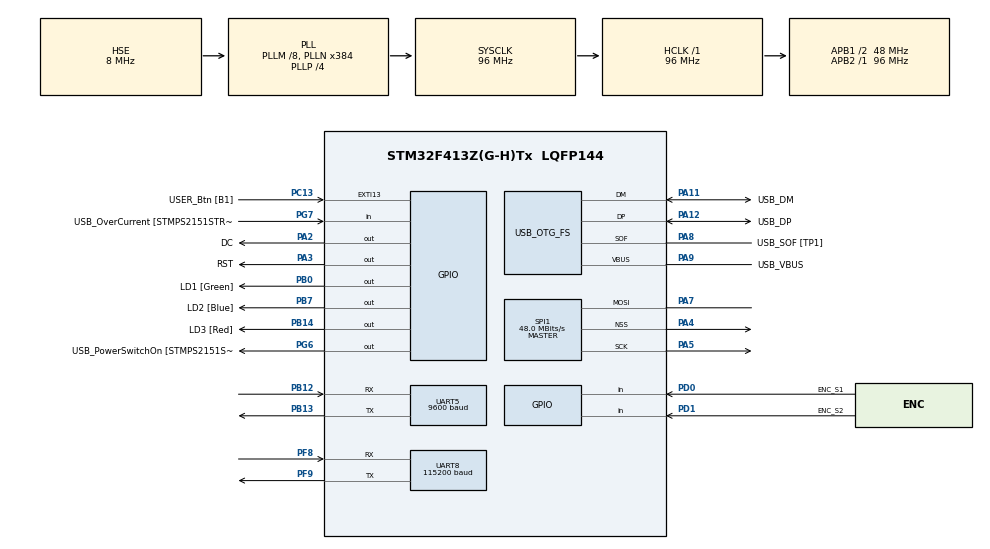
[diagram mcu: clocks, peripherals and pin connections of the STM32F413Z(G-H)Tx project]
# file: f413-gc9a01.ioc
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Dma.Request0=SPI1_TX
Dma.Request1=UART5_RX
Dma.Request2=UART5_TX
Dma.Request3=UART8_RX
Dma.SPI1_TX.0.Direction=DMA_MEMORY_TO_PERIPH
Dma.SPI1_TX.0.FIFOMode=DMA_FIFOMODE_DISABLE
Dma.SPI1_TX.0.Instance=DMA2_Stream2
Dma.SPI1_TX.0.MemDataAlignment=DMA_MDATAALIGN_BYTE
Dma.SPI1_TX.0.MemInc=DMA_MINC_ENABLE
Dma.SPI1_TX.0.Mode=DMA_NORMAL
Dma.SPI1_TX.0.PeriphDataAlignment=DMA_PDATAALIGN_BYTE
Dma.SPI1_TX.0.PeriphInc=DMA_PINC_DISABLE
Dma.SPI1_TX.0.Priority=DMA_PRIORITY_LOW
Dma.UART5_RX.1.Direction=DMA_PERIPH_TO_MEMORY
Dma.UART5_RX.1.FIFOMode=DMA_FIFOMODE_DISABLE
Dma.UART5_RX.1.Instance=DMA1_Stream0
Dma.UART5_RX.1.MemDataAlignment=DMA_MDATAALIGN_BYTE
Dma.UART5_RX.1.MemInc=DMA_MINC_ENABLE
Dma.UART5_RX.1.Mode=DMA_NORMAL
Dma.UART5_RX.1.PeriphDataAlignment=DMA_PDATAALIGN_BYTE
Dma.UART5_RX.1.PeriphInc=DMA_PINC_DISABLE
Dma.UART5_RX.1.Priority=DMA_PRIORITY_LOW
Dma.UART5_TX.2.Direction=DMA_MEMORY_TO_PERIPH
Dma.UART5_TX.2.FIFOMode=DMA_FIFOMODE_DISABLE
Dma.UART5_TX.2.Instance=DMA1_Stream7
Dma.UART5_TX.2.MemDataAlignment=DMA_MDATAALIGN_BYTE
Dma.UART5_TX.2.MemInc=DMA_MINC_ENABLE
Dma.UART5_TX.2.Mode=DMA_NORMAL
Dma.UART5_TX.2.PeriphDataAlignment=DMA_PDATAALIGN_BYTE
Dma.UART5_TX.2.PeriphInc=DMA_PINC_DISABLE
Dma.UART5_TX.2.Priority=DMA_PRIORITY_LOW
Dma.UART8_RX.3.Direction=DMA_PERIPH_TO_MEMORY
Dma.UART8_RX.3.FIFOMode=DMA_FIFOMODE_DISABLE
Dma.UART8_RX.3.Instance=DMA1_Stream6
Dma.UART8_RX.3.MemDataAlignment=DMA_MDATAALIGN_BYTE
Dma.UART8_RX.3.MemInc=DMA_MINC_ENABLE
Dma.UART8_RX.3.Mode=DMA_NORMAL
Dma.UART8_RX.3.PeriphDataAlignment=DMA_PDATAALIGN_BYTE
Dma.UART8_RX.3.PeriphInc=DMA_PINC_DISABLE
Dma.UART8_RX.3.Priority=DMA_PRIORITY_LOW
Mcu.Family=STM32F4
Mcu.Name=STM32F413Z(G-H)Tx
Mcu.Package=LQFP144
NVIC.DMA1_Stream0_IRQn=true\:0\:0\:false\:false\:true\:false\:true\:true
NVIC.DMA1_Stream6_IRQn=true\:0\:0\:false\:false\:true\:false\:true\:true
NVIC.DMA1_Stream7_IRQn=true\:0\:0\:false\:false\:true\:false\:true\:true
NVIC.DMA2_Stream2_IRQn=true\:0\:0\:false\:false\:true\:false\:true\:true
NVIC.PriorityGroup=NVIC_PRIORITYGROUP_4
NVIC.UART5_IRQn=true\:0\:0\:false\:false\:true\:true\:true\:true
NVIC.UART8_IRQn=true\:0\:0\:false\:false\:true\:true\:true\:true
PA10.GPIO_Label=USB_ID
PA10.Signal=USB_OTG_FS_ID
PA11.GPIO_Label=USB_DM
PA11.Mode=Device_Only
PA11.Signal=USB_OTG_FS_DM
PA12.GPIO_Label=USB_DP
PA12.Mode=Device_Only
PA12.Signal=USB_OTG_FS_DP
PA13.GPIO_Label=TMS
PA13.Mode=Serial_Wire
PA13.Signal=SYS_JTMS-SWDIO
PA14.GPIO_Label=TCK
PA14.Mode=Serial_Wire
PA14.Signal=SYS_JTCK-SWCLK
PA2.GPIO_Label=DC
PA2.GPIO_Speed=GPIO_SPEED_FREQ_VERY_HIGH
PA2.Signal=GPIO_Output
PA3.GPIO_Label=RST
PA3.GPIO_Speed=GPIO_SPEED_FREQ_VERY_HIGH
PA3.Signal=GPIO_Output
PA4.Mode=NSS_Signal_Hard_Output
PA4.Signal=SPI1_NSS
PA5.Mode=Simplex_Bidirectional_Master
PA5.Signal=SPI1_SCK
PA7.Mode=Simplex_Bidirectional_Master
PA7.Signal=SPI1_MOSI
PA8.GPIO_Label=USB_SOF [TP1]
PA8.Mode=Activate_SOF_FS
PA8.Signal=USB_OTG_FS_SOF
PA9.GPIO_Label=USB_VBUS
PA9.Mode=Activate_VBUS
PA9.Signal=USB_OTG_FS_VBUS
PB0.GPIO_Label=LD1 [Green]
PB0.Signal=GPIO_Output
PB12.Mode=Asynchronous
PB12.Signal=UART5_RX
PB13.Mode=Asynchronous
PB13.Signal=UART5_TX
PB14.GPIO_Label=LD3 [Red]
PB14.Signal=GPIO_Output
PB3.GPIO_Label=SWO
PB3.Signal=SYS_JTDO-SWO
PB7.GPIO_Label=LD2 [Blue]
PB7.Signal=GPIO_Output
PC13.GPIO_Label=USER_Btn [B1]
PC13.Signal=GPXTI13
PC14-OSC32_IN.Mode=LSE-External-Oscillator
PC14-OSC32_IN.Signal=RCC_OSC32_IN
PC15-OSC32_OUT.Mode=LSE-External-Oscillator
PC15-OSC32_OUT.Signal=RCC_OSC32_OUT
PD0.GPIO_Label=ENC_S1
PD0.Signal=GPIO_Input
PD1.GPIO_Label=ENC_S2
PD1.Signal=GPIO_Input
PD8.GPIO_Label=STLK_RX [STM32F103CBT6_PA3]
PD8.Signal=USART3_TX
PD9.GPIO_Label=STLK_TX [STM32F103CBT6_PA2]
PD9.Signal=USART3_RX
PF8.Mode=Asynchronous
PF8.Signal=UART8_RX
PF9.Mode=Asynchronous
PF9.Signal=UART8_TX
PG6.GPIO_Label=USB_PowerSwitchOn [STMPS2151STR_EN]
PG6.Signal=GPIO_Output
PG7.GPIO_Label=USB_OverCurrent [STMPS2151STR_FAULT]
PG7.Signal=GPIO_Input
PH0\ -\ OSC_IN.GPIO_Label=MCO
PH0\ -\ OSC_IN.Mode=HSE-External-Clock-Source
PH0\ -\ OSC_IN.Signal=RCC_OSC_IN
PH1\ -\ OSC_OUT.Mode=HSE-External-Clock-Source
PH1\ -\ OSC_OUT.Signal=RCC_OSC_OUT
ProjectManager.HeapSize=0x200
ProjectManager.StackSize=0x400
ProjectManager.TargetToolchain=Makefile
RCC.48MHZClocksFreq_Value=24000000
RCC.AHBFreq_Value=96000000
RCC.APB1CLKDivider=RCC_HCLK_DIV2
RCC.APB1Freq_Value=48000000
RCC.APB1TimFreq_Value=96000000
RCC.APB2Freq_Value=96000000
RCC.APB2TimFreq_Value=96000000
RCC.CortexFreq_Value=96000000
RCC.HCLKFreq_Value=96000000
RCC.HSE_VALUE=8000000
RCC.HSI_VALUE=16000000
RCC.PLLM=8
RCC.PLLMUL=RCC_PLL_MUL9
RCC.PLLN=384
RCC.PLLP=RCC_PLLP_DIV4
RCC.PLLQ=8
RCC.PRESCALERUSB=RCC_USBCLKSOURCE_PLL_DIV1_5
RCC.SYSCLKFreq_VALUE=96000000
RCC.SYSCLKSource=RCC_SYSCLKSOURCE_PLLCLK
RCC.SYSCLKSourceVirtual=RCC_SYSCLKSOURCE_PLLCLK
RCC.USBFreq_Value=48000000
RCC.VCOOutputFreq_Value=384000000
SPI1.CalculateBaudRate=48.0 MBits/s
SPI1.Direction=SPI_DIRECTION_1LINE
SPI1.Mode=SPI_MODE_MASTER
SPI1.VirtualNSS=VM_NSSHARD
SPI1.VirtualType=VM_MASTER
UART5.BaudRate=9600
UART5.VirtualMode=Asynchronous
UART8.BaudRate=115200
UART8.VirtualMode=Asynchronous
USB_OTG_FS.VirtualMode=Device_Only
board=NUCLEO-F413ZH

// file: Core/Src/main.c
/* USER CODE BEGIN Header */
/**
  ******************************************************************************
  * @file           : main.c
  * @brief          : Main program body
  ******************************************************************************
  * @attention
  *
  * Copyright (c) 2024 STMicroelectronics.
  * All rights reserved.
  *
  * This software is licensed under terms that can be found in the LICENSE file
  * in the root directory of this software component.
  * If no LICENSE file comes with this software, it is provided AS-IS.
  *
  ******************************************************************************
  */
/* USER CODE END Header */
#include "main.h"

/* USER CODE BEGIN Includes */
#include <stdlib.h>
#include <dispcolor.h>
#include <gpio.h>
#include "info_disp.h"
#include "buttons.h"
#include "enc.h"
/* USER CODE END Includes */

/* USER CODE BEGIN PD */
#define STATE_INIT    0
#define STATE_DISPLAY 1
#define STATE_800INIT 2
/* USER CODE END PD */

/* USER CODE BEGIN PM */
#define SCROLL_MODE_AUTO  0
#define SCROLL_MODE_HALT  1
#define SCROLL_MODE_CLICK 2
/* USER CODE END PM */

SPI_HandleTypeDef hspi1;
// DMA_HandleTypeDef hdma_spi1_tx;

UART_HandleTypeDef huart5;
UART_HandleTypeDef huart8;
DMA_HandleTypeDef hdma_uart5_rx;
DMA_HandleTypeDef hdma_uart5_tx;
DMA_HandleTypeDef hdma_uart8_rx;

PCD_HandleTypeDef hpcd_USB_OTG_FS;

/* USER CODE BEGIN PV */
#define DEV0_UART &huart5

#define DEV_STATE_IN    1
#define DEV_STATE_UNIN  0

#define SIM800_UART &huart8
/* USER CODE END PV */

void SystemClock_Config(void);
static void MX_GPIO_Init(void);
static void MX_DMA_Init(void);
static void MX_SPI1_Init(void);
static void MX_USB_OTG_FS_PCD_Init(void);
static void MX_UART5_Init(void);
static void MX_UART8_Init(void);

/* USER CODE BEGIN 0 */
double val = 10;
uint8_t tx_buff[]={84,66,67,68,69,70,71,72,73,74};
uint8_t palette = TEMP_PALETTE;
uint8_t device_type = TYPE_SET_TEL;

uint8_t state = STATE_INIT;
uint8_t dev_num = 0;

bool trySIMInit = 0;

uint8_t screen_scroll_mode = SCROLL_MODE_AUTO;

Button button = {GPIOC, GPIO_PIN_13, TYPE_HIGH_PULL};

Encoder enc = {GPIOD, GPIO_PIN_0, GPIOD, GPIO_PIN_1};

// Device device_0 = {&huart5, DEV_STATE_UNIN, TYPE_SET_ONLY};
// Device device_2 = {&huart5, DEV_STATE_UNIN, TYPE_SET_ONLY};
// Device device_3 = {&huart5, DEV_STATE_UNIN, TYPE_SET_ONLY};
// Device device_4 = {&huart5, DEV_STATE_UNIN, TYPE_SET_ONLY};

Device deviceList[] = {{&huart5, DEV_STATE_UNIN, TYPE_SET_ONLY}};

SIM sim = {SIM800_UART};

#define DEV_COUNT sizeof(deviceList)/sizeof(deviceList[0])
/* USER CODE END 0 */

int main(void)
{

  /* MCU Configuration--------------------------------------------------------*/

  /* Reset of all peripherals, Initializes the Flash interface and the Systick. */
  HAL_Init();

  /* USER CODE BEGIN Init */

	gpio_SetGPIOmode_Out(GPIOB, GPIO_PIN_14);
  gpio_SetGPIOmode_Out(GPIOB, GPIO_PIN_7);
  gpio_SetGPIOmode_Out(GPIOB, GPIO_PIN_0);
  HAL_GPIO_WritePin(GPIOB, GPIO_PIN_0, GPIO_PIN_SET);
	HAL_Delay(100);

	HAL_GPIO_TogglePin(GPIOB, GPIO_PIN_14);
	HAL_Delay(100);
	HAL_GPIO_TogglePin(GPIOB, GPIO_PIN_14);
  /* USER CODE END Init */

  /* Configure the system clock */
  SystemClock_Config();

  /* Initialize all configured peripherals */
  MX_GPIO_Init();
  MX_DMA_Init();
  MX_SPI1_Init();
  MX_USB_OTG_FS_PCD_Init();
  MX_UART5_Init();
  MX_UART8_Init();
  /* USER CODE BEGIN 2 */
  init(&button);
  initEnc(&enc);

  HAL_GPIO_WritePin(GPIOB, GPIO_PIN_0, GPIO_PIN_RESET);
  HAL_Delay(100);
	HAL_GPIO_WritePin(GPIOB, GPIO_PIN_0, GPIO_PIN_SET);

	dispcolor_Init(240, 240);

	uint32_t dev_init_timeout = HAL_GetTick();
  uint32_t screen_disp_time = HAL_GetTick();
  uint32_t hold_timeout = HAL_GetTick();

  uint32_t simtmr = HAL_GetTick();

	bool isOn = 0;

  uint8_t old_dev_num = 0;

  uint8_t rx_buff[5];

  bool testMode = MODE_NORMAL;
  uint16_t testVal = 28.5;

  deviceList[0].tx_buff[0] = 84;

  //Show_Message("HELLO, WORLD!", 5000);
  /* USER CODE END 2 */

  /* Infinite loop */
  /* USER CODE BEGIN WHILE */
  while (1)
  {
    // NEW CODE START
    if(state == STATE_INIT){
      Display_Init(dev_num, DEV_COUNT);
      HAL_UART_Transmit_DMA(deviceList[dev_num].uart, deviceList[dev_num].tx_buff, 10);
      HAL_UART_Receive_DMA(deviceList[dev_num].uart, deviceList[dev_num].rx_buff, 10);
    }else if (state == STATE_800INIT){
      trySIMInit = 1;
      SIM_Init("TRY TO", "INIT SIM");
      HAL_UART_Transmit_IT(sim.uart, "AT\r\n", 5); //UART8 NO DMA TX
      HAL_UART_Receive_DMA(sim.uart, rx_buff, 10);
    }else{
      Dispaly_Data(&deviceList[dev_num]);
      HAL_UART_Transmit_DMA(deviceList[dev_num].uart, deviceList[dev_num].tx_buff, 10);
    }
    // NEW CODE END

    // DEVICE INITIALIZATION START
    if (HAL_GetTick()-dev_init_timeout>50 && state == STATE_INIT){
      if(dev_num == old_dev_num){
        dev_num++;
      }else{
        old_dev_num = dev_num;
      }
      dev_init_timeout = HAL_GetTick();
      screen_disp_time = HAL_GetTick();
    }

    // SIM INIT START
    if(state == STATE_800INIT && HAL_GetTick() - simtmr > 1000){
      trySIMInit = 0;
      sim.initState = 0;
      Show_Message("SIM INIT FAIL", 1000);
      state = STATE_DISPLAY;
    }
    if(sim.initState = 1 && state == STATE_800INIT){
      state = STATE_DISPLAY;
    }
    // SIM INIT END

    if(dev_num == DEV_COUNT && state == STATE_INIT){
      state = STATE_800INIT;
      simtmr = HAL_GetTick();
      dev_num = 0;
    }
    // DEVICE INITIALIZATION END

    // AUTO SCREEN SCROLL START
    if (HAL_GetTick()-screen_disp_time>5000 && screen_scroll_mode == SCROLL_MODE_AUTO){
      if(state != STATE_INIT){
        do{
          if(dev_num < DEV_COUNT-1){
            dev_num++;
          }else{
            dev_num=0;
          }
        }while (!deviceList[dev_num].initState);
      }
      screen_disp_time = HAL_GetTick();
    }
    // AUTO SCREEN SCROLL END

    // GPIO READING START
    tick(&button);
    tickEnc(&enc);
    // GPIO READING END

    // SCROLL MODE CHANGE START
    if(isClicked(&button)){
      screen_disp_time = HAL_GetTick();
      HAL_GPIO_TogglePin(GPIOB, GPIO_PIN_7);
      if(screen_scroll_mode == SCROLL_MODE_AUTO){
        screen_scroll_mode = SCROLL_MODE_HALT;
      }else{
        screen_scroll_mode = SCROLL_MODE_AUTO;
      }
    }
    // SCROLL MODE CHANGE END

    // ENCODER START
    // TEST CODE START
    if (deviceList[dev_num].deviceDisplayMode == MODE_NORMAL){
    // TEST CODE
      // MANUAL SCREEN SROLL START
      if(isRight(&enc)){
        if(dev_num < DEV_COUNT){
          dev_num++;
        }else{
          dev_num = 0;
        }
        screen_disp_time = HAL_GetTick();
      }

      if(isLeft(&enc)){
        if(dev_num > 0){
          dev_num--;
        }else{
          dev_num = DEV_COUNT;
        }
        screen_disp_time = HAL_GetTick();
      }
      // MANUAL SCREEN SCROLL START
    }else{
      // VALUE EDIT START
      if(isRight(&enc)){
        deviceList[dev_num].setValue +=10;
      }
      if(isLeft(&enc)){
        deviceList[dev_num].setValue -=10;
      }
      // VALUE EDIT END
    }
    // ENCODER END

    // EDIT VALUE START
    if(isHold(&button) && HAL_GetTick() - hold_timeout > 750){
      screen_disp_time = HAL_GetTick();
      hold_timeout = HAL_GetTick();
      if(deviceList[dev_num].deviceDisplayMode == MODE_NORMAL){
        deviceList[dev_num].setValue = deviceList[dev_num].currentValue;
        deviceList[dev_num].deviceDisplayMode = MODE_EDIT;
      }else{
        char setValueTx[10];
        sprintf(setValueTx, "%d", deviceList[dev_num].setValue);
        HAL_UART_Transmit_DMA(deviceList[dev_num].uart, setValueTx, 10);
        deviceList[dev_num].deviceDisplayMode = MODE_NORMAL;
      }

      if(screen_scroll_mode == SCROLL_MODE_AUTO){
        screen_scroll_mode = SCROLL_MODE_HALT;
      }else{
        screen_scroll_mode = SCROLL_MODE_AUTO;
      }
    }
    // EDIT VALUE END

    /* USER CODE END WHILE */

  }
}

void SystemClock_Config(void)
{
  RCC_OscInitTypeDef RCC_OscInitStruct = {0};
  RCC_ClkInitTypeDef RCC_ClkInitStruct = {0};

  /** Configure the main internal regulator output voltage
  */
  __HAL_RCC_PWR_CLK_ENABLE();
  __HAL_PWR_VOLTAGESCALING_CONFIG(PWR_REGULATOR_VOLTAGE_SCALE1);

  /** Initializes the RCC Oscillators according to the specified parameters
  * in the RCC_OscInitTypeDef structure.
  */
  RCC_OscInitStruct.OscillatorType = RCC_OSCILLATORTYPE_HSE;
  RCC_OscInitStruct.HSEState = RCC_HSE_BYPASS;
  RCC_OscInitStruct.PLL.PLLState = RCC_PLL_ON;
  RCC_OscInitStruct.PLL.PLLSource = RCC_PLLSOURCE_HSE;
  RCC_OscInitStruct.PLL.PLLM = 8;
  RCC_OscInitStruct.PLL.PLLN = 384;
  RCC_OscInitStruct.PLL.PLLP = RCC_PLLP_DIV4;
  RCC_OscInitStruct.PLL.PLLQ = 8;
  RCC_OscInitStruct.PLL.PLLR = 2;
  if (HAL_RCC_OscConfig(&RCC_OscInitStruct) != HAL_OK)
  {
    Error_Handler();
  }

  /** Initializes the CPU, AHB and APB buses clocks
  */
  RCC_ClkInitStruct.ClockType = RCC_CLOCKTYPE_HCLK|RCC_CLOCKTYPE_SYSCLK
                              |RCC_CLOCKTYPE_PCLK1|RCC_CLOCKTYPE_PCLK2;
  RCC_ClkInitStruct.SYSCLKSource = RCC_SYSCLKSOURCE_PLLCLK;
  RCC_ClkInitStruct.AHBCLKDivider = RCC_SYSCLK_DIV1;
  RCC_ClkInitStruct.APB1CLKDivider = RCC_HCLK_DIV2;
  RCC_ClkInitStruct.APB2CLKDivider = RCC_HCLK_DIV1;

  if (HAL_RCC_ClockConfig(&RCC_ClkInitStruct, FLASH_LATENCY_3) != HAL_OK)
  {
    Error_Handler();
  }
}

static void MX_SPI1_Init(void)
{

  /* SPI1 parameter configuration*/
  hspi1.Instance = SPI1;
  hspi1.Init.Mode = SPI_MODE_MASTER;
  hspi1.Init.Direction = SPI_DIRECTION_1LINE;
  hspi1.Init.DataSize = SPI_DATASIZE_8BIT;
  hspi1.Init.CLKPolarity = SPI_POLARITY_LOW;
  hspi1.Init.CLKPhase = SPI_PHASE_1EDGE;
  hspi1.Init.NSS = SPI_NSS_HARD_OUTPUT;
  hspi1.Init.BaudRatePrescaler = SPI_BAUDRATEPRESCALER_2;
  hspi1.Init.FirstBit = SPI_FIRSTBIT_MSB;
  hspi1.Init.TIMode = SPI_TIMODE_DISABLE;
  hspi1.Init.CRCCalculation = SPI_CRCCALCULATION_DISABLE;
  hspi1.Init.CRCPolynomial = 10;
  if (HAL_SPI_Init(&hspi1) != HAL_OK)
  {
    Error_Handler();
  }

}

static void MX_UART5_Init(void)
{

  huart5.Instance = UART5;
  huart5.Init.BaudRate = 9600;
  huart5.Init.WordLength = UART_WORDLENGTH_8B;
  huart5.Init.StopBits = UART_STOPBITS_1;
  huart5.Init.Parity = UART_PARITY_NONE;
  huart5.Init.Mode = UART_MODE_TX_RX;
  huart5.Init.HwFlowCtl = UART_HWCONTROL_NONE;
  huart5.Init.OverSampling = UART_OVERSAMPLING_16;
  if (HAL_UART_Init(&huart5) != HAL_OK)
  {
    Error_Handler();
  }

}

static void MX_UART8_Init(void)
{

  huart8.Instance = UART8;
  huart8.Init.BaudRate = 115200;
  huart8.Init.WordLength = UART_WORDLENGTH_8B;
  huart8.Init.StopBits = UART_STOPBITS_1;
  huart8.Init.Parity = UART_PARITY_NONE;
  huart8.Init.Mode = UART_MODE_TX_RX;
  huart8.Init.HwFlowCtl = UART_HWCONTROL_NONE;
  huart8.Init.OverSampling = UART_OVERSAMPLING_16;
  if (HAL_UART_Init(&huart8) != HAL_OK)
  {
    Error_Handler();
  }

}

static void MX_USB_OTG_FS_PCD_Init(void)
{

  hpcd_USB_OTG_FS.Instance = USB_OTG_FS;
  hpcd_USB_OTG_FS.Init.dev_endpoints = 6;
  hpcd_USB_OTG_FS.Init.speed = PCD_SPEED_FULL;
  hpcd_USB_OTG_FS.Init.dma_enable = DISABLE;
  hpcd_USB_OTG_FS.Init.phy_itface = PCD_PHY_EMBEDDED;
  hpcd_USB_OTG_FS.Init.Sof_enable = ENABLE;
  hpcd_USB_OTG_FS.Init.low_power_enable = DISABLE;
  hpcd_USB_OTG_FS.Init.lpm_enable = DISABLE;
  hpcd_USB_OTG_FS.Init.battery_charging_enable = ENABLE;
  hpcd_USB_OTG_FS.Init.vbus_sensing_enable = ENABLE;
  hpcd_USB_OTG_FS.Init.use_dedicated_ep1 = DISABLE;
  if (HAL_PCD_Init(&hpcd_USB_OTG_FS) != HAL_OK)
  {
    Error_Handler();
  }

}

static void MX_DMA_Init(void)
{

  /* DMA controller clock enable */
  __HAL_RCC_DMA2_CLK_ENABLE();
  __HAL_RCC_DMA1_CLK_ENABLE();

  /* DMA interrupt init */
  /* DMA1_Stream0_IRQn interrupt configuration */
  HAL_NVIC_SetPriority(DMA1_Stream0_IRQn, 0, 0);
  HAL_NVIC_EnableIRQ(DMA1_Stream0_IRQn);
  /* DMA1_Stream6_IRQn interrupt configuration */
  HAL_NVIC_SetPriority(DMA1_Stream6_IRQn, 0, 0);
  HAL_NVIC_EnableIRQ(DMA1_Stream6_IRQn);
  /* DMA1_Stream7_IRQn interrupt configuration */
  HAL_NVIC_SetPriority(DMA1_Stream7_IRQn, 0, 0);
  HAL_NVIC_EnableIRQ(DMA1_Stream7_IRQn);
  /* DMA2_Stream2_IRQn interrupt configuration */
  HAL_NVIC_SetPriority(DMA2_Stream2_IRQn, 0, 0);
  HAL_NVIC_EnableIRQ(DMA2_Stream2_IRQn);

}

static void MX_GPIO_Init(void)
{
  GPIO_InitTypeDef GPIO_InitStruct = {0};

  /* GPIO Ports Clock Enable */
  __HAL_RCC_GPIOC_CLK_ENABLE();
  __HAL_RCC_GPIOF_CLK_ENABLE();
  __HAL_RCC_GPIOH_CLK_ENABLE();
  __HAL_RCC_GPIOA_CLK_ENABLE();
  __HAL_RCC_GPIOB_CLK_ENABLE();
  __HAL_RCC_GPIOD_CLK_ENABLE();
  __HAL_RCC_GPIOG_CLK_ENABLE();

  /*Configure GPIO pin Output Level */
  HAL_GPIO_WritePin(GPIOA, DC_Pin|RST_Pin, GPIO_PIN_RESET);

  /*Configure GPIO pin Output Level */
  HAL_GPIO_WritePin(GPIOB, LD1_Pin|LD3_Pin|LD2_Pin, GPIO_PIN_RESET);

  /*Configure GPIO pin Output Level */
  HAL_GPIO_WritePin(USB_PowerSwitchOn_GPIO_Port, USB_PowerSwitchOn_Pin, GPIO_PIN_RESET);

  /*Configure GPIO pin : USER_Btn_Pin */
  GPIO_InitStruct.Pin = USER_Btn_Pin;
  GPIO_InitStruct.Mode = GPIO_MODE_IT_RISING;
  GPIO_InitStruct.Pull = GPIO_NOPULL;
  HAL_GPIO_Init(USER_Btn_GPIO_Port, &GPIO_InitStruct);

  /*Configure GPIO pins : DC_Pin RST_Pin */
  GPIO_InitStruct.Pin = DC_Pin|RST_Pin;
  GPIO_InitStruct.Mode = GPIO_MODE_OUTPUT_PP;
  GPIO_InitStruct.Pull = GPIO_NOPULL;
  GPIO_InitStruct.Speed = GPIO_SPEED_FREQ_VERY_HIGH;
  HAL_GPIO_Init(GPIOA, &GPIO_InitStruct);

  /*Configure GPIO pins : LD1_Pin LD3_Pin LD2_Pin */
  GPIO_InitStruct.Pin = LD1_Pin|LD3_Pin|LD2_Pin;
  GPIO_InitStruct.Mode = GPIO_MODE_OUTPUT_PP;
  GPIO_InitStruct.Pull = GPIO_NOPULL;
  GPIO_InitStruct.Speed = GPIO_SPEED_FREQ_LOW;
  HAL_GPIO_Init(GPIOB, &GPIO_InitStruct);

  /*Configure GPIO pins : STLK_RX_Pin STLK_TX_Pin */
  GPIO_InitStruct.Pin = STLK_RX_Pin|STLK_TX_Pin;
  GPIO_InitStruct.Mode = GPIO_MODE_AF_PP;
  GPIO_InitStruct.Pull = GPIO_NOPULL;
  GPIO_InitStruct.Speed = GPIO_SPEED_FREQ_VERY_HIGH;
  GPIO_InitStruct.Alternate = GPIO_AF7_USART3;
  HAL_GPIO_Init(GPIOD, &GPIO_InitStruct);

  /*Configure GPIO pin : USB_PowerSwitchOn_Pin */
  GPIO_InitStruct.Pin = USB_PowerSwitchOn_Pin;
  GPIO_InitStruct.Mode = GPIO_MODE_OUTPUT_PP;
  GPIO_InitStruct.Pull = GPIO_NOPULL;
  GPIO_InitStruct.Speed = GPIO_SPEED_FREQ_LOW;
  HAL_GPIO_Init(USB_PowerSwitchOn_GPIO_Port, &GPIO_InitStruct);

  /*Configure GPIO pin : USB_OverCurrent_Pin */
  GPIO_InitStruct.Pin = USB_OverCurrent_Pin;
  GPIO_InitStruct.Mode = GPIO_MODE_INPUT;
  GPIO_InitStruct.Pull = GPIO_NOPULL;
  HAL_GPIO_Init(USB_OverCurrent_GPIO_Port, &GPIO_InitStruct);

  /*Configure GPIO pins : ENC_S1_Pin ENC_S2_Pin */
  GPIO_InitStruct.Pin = ENC_S1_Pin|ENC_S2_Pin;
  GPIO_InitStruct.Mode = GPIO_MODE_INPUT;
  GPIO_InitStruct.Pull = GPIO_NOPULL;
  HAL_GPIO_Init(GPIOD, &GPIO_InitStruct);

}

/* USER CODE BEGIN 4 */
void HAL_UART_RxCpltCallback(UART_HandleTypeDef *huart)
{
  /*
  COMMUNICATION PROTOCOL
  Master    Slave
  T      -> palette(L/T), type(S/T/B), (value), X(value), (symbol) ... LB0X250Y%
  G      -> value ... 754
  val    -> OK
  ON     -> OK
  OFF    -> OK
  S      -> S(state(0/1)) ... S1
  */
  char rx_buff[10];
  HAL_UART_Receive_DMA(deviceList[dev_num].uart, rx_buff, 10);

  if(trySIMInit == 1){
    if(rx_buff[0] == 79){
      sim.initState = 1;
      trySIMInit = 0;
    }
    return;
  }

    // NEW CODE START
    // IF FIRST LETTER IS L OR T
  if(rx_buff[0] == 76 || rx_buff[0] == 84){
    // IF L
    if (rx_buff[0] == 76){
      deviceList[dev_num].paletteType = LIGHT_PALETTE;
    }else{
      deviceList[dev_num].paletteType = TEMP_PALETTE;
    }
    // ENDIF

    // DEVICE MODE
    switch (rx_buff[1])
    {
    case 83:
      deviceList[dev_num].deviceMode = TYPE_SET_ONLY;
      break;
    case 84:
      deviceList[dev_num].deviceMode = TYPE_TEL_ONLY;
      break;
    case 66:
      deviceList[dev_num].deviceMode = TYPE_SET_TEL;
      break;
    }
    // ENDIF

    //GET MIN, MAX VALUE & SYMBOL START
    uint8_t minValueEndIndex;
    uint8_t maxValueEndIndex;

    for (int i = 2; i<10; i++){
      if(rx_buff[i] == 88){
        minValueEndIndex = i-1;
      }
      if(rx_buff[i] == 89){
        maxValueEndIndex = i-1;
        break;
      }
    }

    char minValueArr[minValueEndIndex-1];
    char maxValueArr[maxValueEndIndex-minValueEndIndex-1];

    // for (int i = 2; i<minValueEndIndex+1; i++){
    //   minValueArr[i-2] = rx_buff[i];
    // }

    memcpy(minValueArr, &rx_buff[2], (minValueEndIndex-2) * sizeof(char));

    // for (int i = minValueEndIndex+2; i<maxValueEndIndex+1; i++){
    //   maxValueArr[i-minValueEndIndex-2] = rx_buff[i];
    // }

    memcpy(maxValueArr, &rx_buff[minValueEndIndex+2], (maxValueEndIndex-minValueEndIndex) * sizeof(char));

    deviceList[dev_num].minValue = atof(minValueArr);
    deviceList[dev_num].maxValue = atof(maxValueArr);

    deviceList[dev_num].symbol = rx_buff[maxValueEndIndex+2];

    deviceList[dev_num].tx_buff[0] = 71;
    // GET MIN, MAX VALUE & SYMBOL END

  }else if (rx_buff[0] == 83){
    if(atoi(rx_buff[1]) == 1){
      deviceList[dev_num].isDevOn = 1;
    }else{
      deviceList[dev_num].isDevOn = 0;
    }
  }else{// ISSUE START
    deviceList[dev_num].currentValue = atof(rx_buff);
    deviceList[dev_num].currentValue /= 10;
  }// ISSUE END
  // NEW CODE END

  if(state == STATE_INIT){
    deviceList[dev_num].initState = DEV_STATE_IN;
    dev_num++;
  }

  HAL_GPIO_TogglePin(GPIOB, GPIO_PIN_14);
}
/* USER CODE END 4 */

void Error_Handler(void)
{
  /* USER CODE BEGIN Error_Handler_Debug */
	/* User can add his own implementation to report the HAL error return state */
  __disable_irq();
  Show_Message("Kernel panic", 60000);
  NVIC_SystemReset();
  /* USER CODE END Error_Handler_Debug */
}
